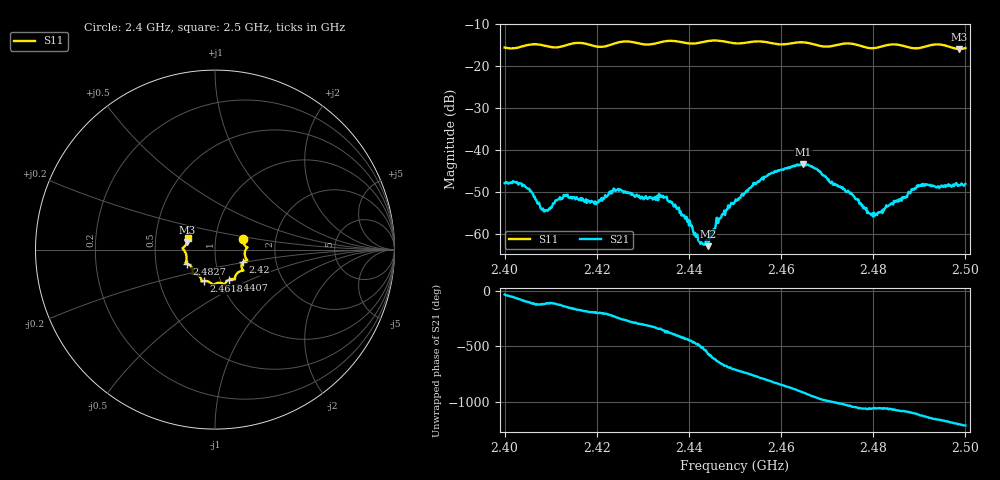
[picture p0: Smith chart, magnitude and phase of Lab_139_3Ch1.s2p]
# Hz S RI R 50
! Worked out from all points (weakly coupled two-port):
!   601 points, 2.4 GHz to 2.5 GHz, reference 50 ohm
!   highest |S21| = -43.32 dB at 2.4648 GHz (marker M1); lowest = -62.9 dB at 2.4442 GHz (marker M2)
!   lowest |S11| = -15.9 dB at 2.4987 GHz (marker M3), VSWR 1.38, Z = 36.5 + j3.23 ohm
!   |S11| at or under -10 dB: start of sweep to end of sweep
!   S12 and S22 are empty: the file has one direction only
!   S11 on the Smith chart (normalised r, x): 2.4 GHz: 1.35, +0.17; 2.42 GHz: 1.35, -0.19; 2.4407 GHz: 1.10, -0.38; 2.4618 GHz: 0.83, -0.30; 2.4827 GHz: 0.72, -0.12; 2.5 GHz: 0.73, +0.10
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2.4e9  0.1547 0.0614  0.00329 -0.00233  0 0  0 0
2.4045e9  0.1746 0.0155  -0.000439 -0.00363  0 0  0 0
2.409e9  0.1733 0.00328  -0.000911 -0.00169  0 0  0 0
2.413167e9  0.1702 -0.0441  -0.00228 -0.00171  0 0  0 0
2.416667e9  0.1788 -0.0585  -0.0025 -5.74e-05  0 0  0 0
2.42e9  0.1564 -0.0691  -0.00224 0.000785  0 0  0 0
2.424167e9  0.1526 -0.1098  -0.00169 0.0028  0 0  0 0
2.433333e9  0.1115 -0.153  0.00241 0.000748  0 0  0 0
2.437333e9  0.108 -0.1652  0.00138 -0.00145  0 0  0 0
2.440667e9  0.0791 -0.1676  -0.000221 -0.00124  0 0  0 0
2.442667e9  0.0619 -0.1812  -0.000714 -0.000358  0 0  0 0
2.444167e9  0.0554 -0.1908  -0.000595 0.000397  0 0  0 0
2.45e9  0.027 -0.1848  0.00242 0.000342  0 0  0 0
2.461833e9  -0.0613 -0.1749  -0.00552 -0.00286  0 0  0 0
2.464833e9  -0.0746 -0.1765  -0.0065 0.00206  0 0  0 0
2.466667e9  -0.0757 -0.1682  -0.00424 0.00483  0 0  0 0
2.479167e9  -0.1291 -0.1007  0.00163 0.00066  0 0  0 0
2.482667e9  -0.1582 -0.0779  0.00195 0.00066  0 0  0 0
2.483333e9  -0.162 -0.0768  0.00212 0.000446  0 0  0 0
2.49e9  -0.1627 -0.0209  0.00286 -0.00237  0 0  0 0
2.498667e9  -0.1538 0.0431  -0.0021 -0.00319  0 0  0 0
2.5e9  -0.151 0.0631  -0.00273 -0.00285  0 0  0 0
